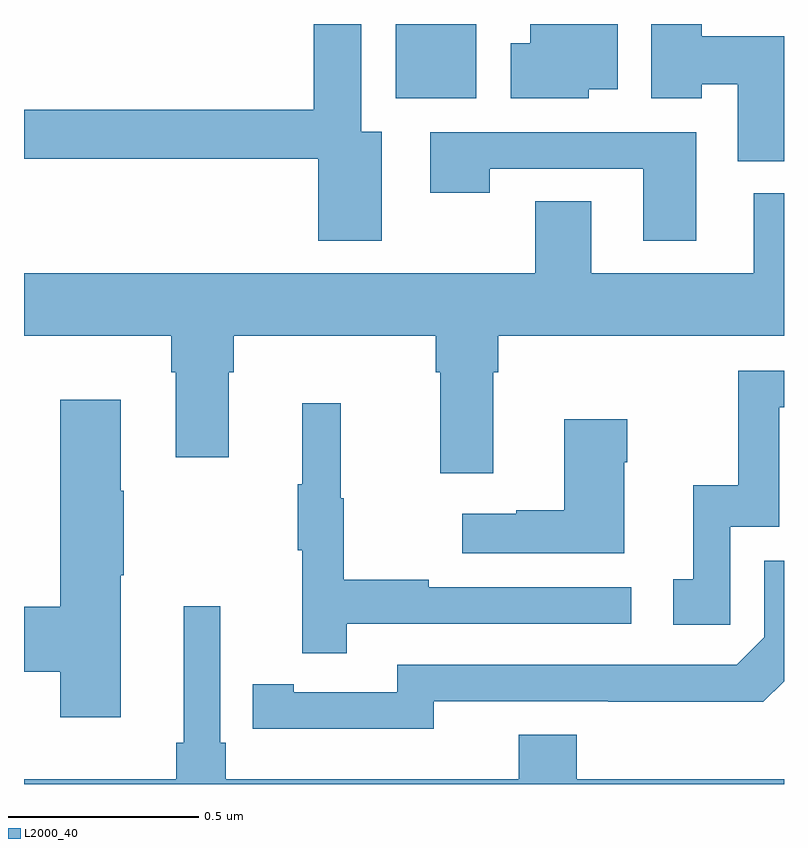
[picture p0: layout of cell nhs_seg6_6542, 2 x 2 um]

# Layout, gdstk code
import gdstk
lib = gdstk.Library(unit=1e-6, precision=1e-09)
def R(c, l, rs):  # rectangles x0, y0, x1, y1
    for r in rs: c.add(gdstk.rectangle(r[:2], r[2:], *l))
def P(c, l, *ps):  # polygons
    for p in ps: c.add(gdstk.Polygon(p, *l))
L2000_40 = (2000, 40)

nhs_seg6_6542 = lib.new_cell('nhs_seg6_6542')
R(nhs_seg6_6542, L2000_40, [(197.978,937.304,198.19,937.5)])
P(nhs_seg6_6542, L2000_40, [(197.941,937.216),(197.887,937.216),(197.887,937.5),(197.762,937.5),(197.762,937.274),(197,937.274),(197,937.146),(197.774,937.146),(197.774,936.93),(197.941,936.93)],
  [(199,937.468),(198.784,937.468),(198.784,937.5),(198.65,937.5),(198.65,937.304),(198.784,937.304),(198.784,937.341),(198.878,937.341),(198.878,937.139),(199,937.139)],
  [(198.486,937.328),(198.562,937.328),(198.562,937.5),(198.332,937.5),(198.332,937.45),(198.281,937.45),(198.281,937.304),(198.486,937.304)],
  [(198.769,937.215),(198.069,937.215),(198.069,937.056),(198.225,937.056),(198.225,937.119),(198.629,937.119),(198.629,936.93),(198.769,936.93)],
  [(197,936.68),(197.387,936.68),(197.387,936.584),(197.399,936.584),(197.399,936.36),(197.539,936.36),(197.539,936.584),(197.552,936.584),(197.552,936.68),(198.083,936.68),(198.083,936.584),(198.095,936.584),(198.095,936.318),(198.235,936.318),(198.235,936.584),(198.248,936.584),(198.248,936.68),(199,936.68),(199,937.054),(198.92,937.054),(198.92,936.844),(198.493,936.844),(198.493,937.034),(198.346,937.034),(198.346,936.844),(197,936.844)],
  [(198.858,936.177),(198.987,936.177),(198.987,936.492),(199,936.492),(199,936.588),(198.879,936.588),(198.879,936.286),(198.761,936.286),(198.761,936.039),(198.708,936.039),(198.708,935.919),(198.858,935.919)],
  [(197.254,936.049),(197.262,936.049),(197.262,936.272),(197.254,936.272),(197.254,936.511),(197.096,936.511),(197.096,935.966),(197,935.966),(197,935.795),(197.096,935.795),(197.096,935.676),(197.254,935.676)],
  [(197.849,935.922),(198.598,935.922),(198.598,936.018),(198.065,936.018),(198.065,936.038),(197.842,936.038),(197.842,936.252),(197.834,936.252),(197.834,936.502),(197.732,936.502),(197.732,936.289),(197.721,936.289),(197.721,936.115),(197.732,936.115),(197.732,935.844),(197.849,935.844)],
  [(198.58,936.347),(198.588,936.347),(198.588,936.46),(198.422,936.46),(198.422,936.221),(198.296,936.221),(198.296,936.211),(198.153,936.211),(198.153,936.107),(198.58,936.107)],
  [(198.078,935.718),(198.538,935.718),(198.538,935.717),(198.946,935.717),(199,935.77),(199,936.087),(198.948,936.087),(198.948,935.886),(198.876,935.814),(197.982,935.814),(197.982,935.742),(197.71,935.742),(197.71,935.762),(197.602,935.762),(197.602,935.646),(197.71,935.646),(197.71,935.645),(198.078,935.645)],
  [(199,935.512),(198.455,935.512),(198.455,935.629),(198.302,935.629),(198.302,935.512),(197.531,935.512),(197.531,935.608),(197.517,935.608),(197.517,935.968),(197.42,935.968),(197.42,935.608),(197.401,935.608),(197.401,935.512),(197,935.512),(197,935.5),(199,935.5)])

lib.write_gds('nhs_seg6_6542.gds')
